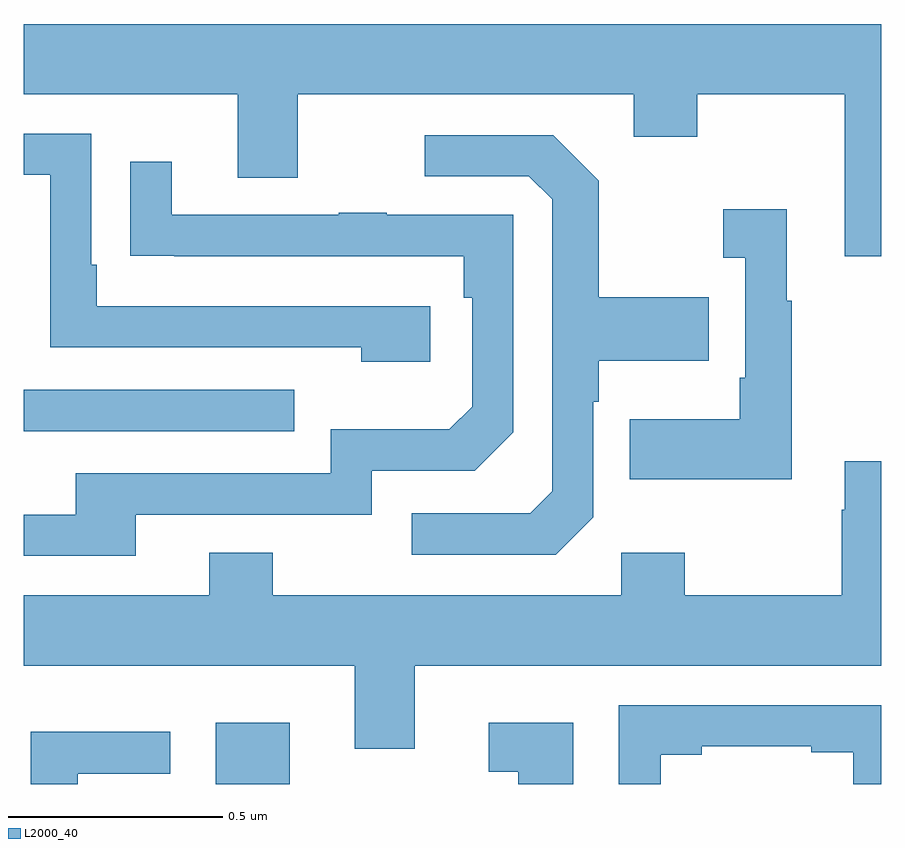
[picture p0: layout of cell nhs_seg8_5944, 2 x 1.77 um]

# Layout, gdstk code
import gdstk
lib = gdstk.Library(unit=1e-6, precision=1e-09)
def R(c, l, rs):  # rectangles x0, y0, x1, y1
    for r in rs: c.add(gdstk.rectangle(r[:2], r[2:], *l))
def P(c, l, *ps):  # polygons
    for p in ps: c.add(gdstk.Polygon(p, *l))
L2000_40 = (2000, 40)

nhs_seg8_5944 = lib.new_cell('nhs_seg8_5944')
R(nhs_seg8_5944, L2000_40, [(190.448,1106.9,190.621,1107.043), (190,1107.723,190.631,1107.819)])
P(nhs_seg8_5944, L2000_40, [(192,1108.672),(190,1108.672),(190,1108.508),(190.499,1108.508),(190.499,1108.314),(190.639,1108.314),(190.639,1108.508),(191.423,1108.508),(191.423,1108.409),(191.571,1108.409),(191.571,1108.508),(191.915,1108.508),(191.915,1108.131),(192,1108.131)],
  [(190.948,1108.014),(190.171,1108.014),(190.171,1108.111),(190.158,1108.111),(190.158,1108.416),(190,1108.416),(190,1108.32),(190.062,1108.32),(190.062,1107.918),(190.787,1107.918),(190.787,1107.884),(190.948,1107.884)],
  [(191.328,1107.522),(191.328,1107.791),(191.341,1107.791),(191.341,1107.887),(191.597,1107.887),(191.597,1108.035),(191.341,1108.035),(191.341,1108.307),(191.235,1108.413),(190.935,1108.413),(190.935,1108.317),(191.178,1108.317),(191.232,1108.263),(191.232,1107.582),(191.181,1107.531),(190.905,1107.531),(190.905,1107.435),(191.241,1107.435)],
  [(190.261,1107.528),(190.812,1107.528),(190.812,1107.63),(191.052,1107.63),(191.142,1107.72),(191.142,1108.227),(190.847,1108.227),(190.847,1108.232),(190.735,1108.232),(190.735,1108.227),(190.345,1108.227),(190.345,1108.351),(190.249,1108.351),(190.249,1108.132),(190.351,1108.132),(190.351,1108.131),(191.026,1108.131),(191.026,1108.034),(191.046,1108.034),(191.046,1107.78),(190.993,1107.727),(190.716,1107.727),(190.716,1107.624),(190.121,1107.624),(190.121,1107.528),(190,1107.528),(190,1107.432),(190.261,1107.432)],
  [(191.791,1108.027),(191.779,1108.027),(191.779,1108.24),(191.631,1108.24),(191.631,1108.127),(191.682,1108.127),(191.682,1107.847),(191.67,1107.847),(191.67,1107.751),(191.413,1107.751),(191.413,1107.611),(191.791,1107.611)],
  [(192,1107.652),(191.915,1107.652),(191.915,1107.539),(191.908,1107.539),(191.908,1107.34),(191.541,1107.34),(191.541,1107.439),(191.394,1107.439),(191.394,1107.34),(190.581,1107.34),(190.581,1107.439),(190.433,1107.439),(190.433,1107.34),(190,1107.34),(190,1107.176),(190.772,1107.176),(190.772,1106.982),(190.912,1106.982),(190.912,1107.176),(192,1107.176)],
  [(191.485,1106.968),(191.581,1106.968),(191.581,1106.988),(191.837,1106.988),(191.837,1106.974),(191.934,1106.974),(191.934,1106.9),(192,1106.9),(192,1107.084),(191.388,1107.084),(191.388,1106.9),(191.485,1106.9)],
  [(191.281,1107.043),(191.085,1107.043),(191.085,1106.928),(191.153,1106.928),(191.153,1106.9),(191.281,1106.9)],
  [(190.126,1106.924),(190.342,1106.924),(190.342,1107.022),(190.017,1107.022),(190.017,1106.9),(190.126,1106.9)])

lib.write_gds('nhs_seg8_5944.gds')
